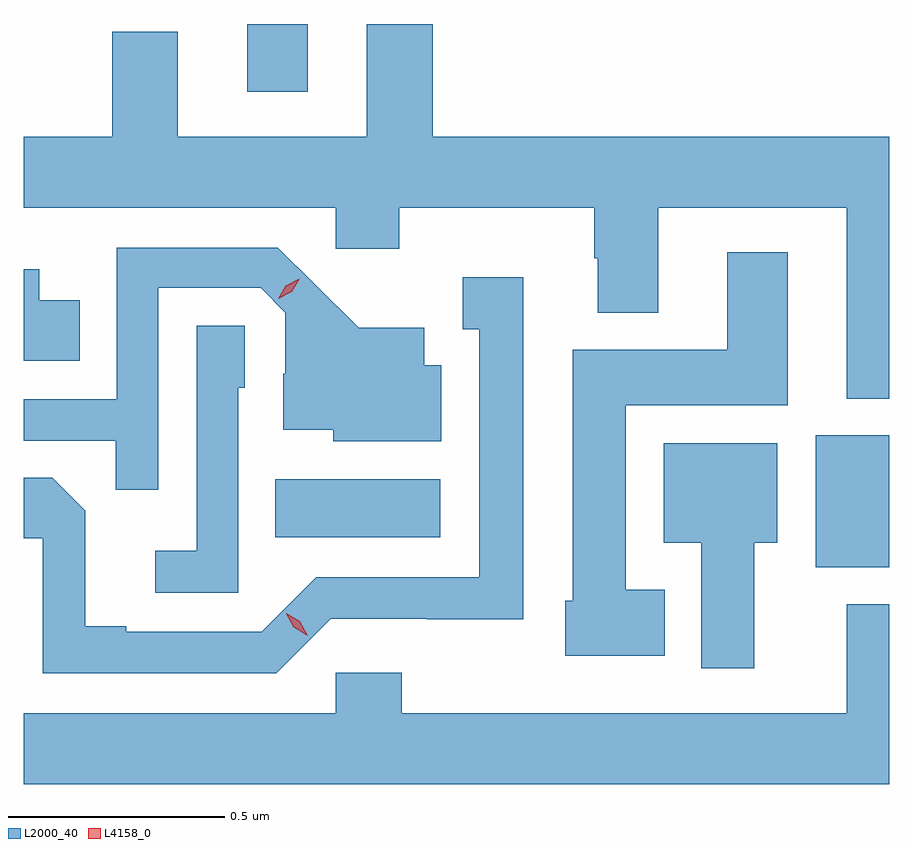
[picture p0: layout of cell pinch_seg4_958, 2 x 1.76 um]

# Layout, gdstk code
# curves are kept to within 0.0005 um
import gdstk
lib = gdstk.Library(unit=1e-6, precision=1e-09)
def R(c, l, rs):  # rectangles x0, y0, x1, y1
    for r in rs: c.add(gdstk.rectangle(r[:2], r[2:], *l))
def P(c, l, *ps):  # polygons
    for p in ps: c.add(gdstk.Polygon(p, *l))
L2000_40 = (2000, 40)
L4158_0 = (4158, 0)

pinch_seg4_958 = lib.new_cell('pinch_seg4_958')
R(pinch_seg4_958, L2000_40, [(656.099,798.653,656.269,798.958), (654.85,798.722,655.231,798.856), (654.785,799.752,654.925,799.909)])
P(pinch_seg4_958, L2000_40, [(656.269,799.648),(655.214,799.648),(655.214,799.909),(655.061,799.909),(655.061,799.648),(654.625,799.648),(654.625,799.891),(654.473,799.891),(654.473,799.648),(654.269,799.648),(654.269,799.484),(654.99,799.484),(654.99,799.389),(655.137,799.389),(655.137,799.484),(655.588,799.484),(655.588,799.368),(655.595,799.368),(655.595,799.241),(655.735,799.241),(655.735,799.484),(656.171,799.484),(656.171,799.043),(656.269,799.043)],
  [(654.579,799.299),(654.816,799.299),(654.873,799.242),(654.873,799.1),(654.869,799.1),(654.869,798.971),(654.984,798.971),(654.984,798.944),(655.234,798.944),(655.234,799.12),(655.195,799.12),(655.195,799.207),(655.043,799.207),(654.856,799.392),(654.483,799.392),(654.483,799.041),(654.269,799.041),(654.269,798.945),(654.481,798.945),(654.481,798.832),(654.579,798.832)],
  [(655.75,798.601),(655.66,798.601),(655.66,799.028),(656.035,799.028),(656.035,799.381),(655.895,799.381),(655.895,799.156),(655.538,799.156),(655.538,798.576),(655.52,798.576),(655.52,798.449),(655.75,798.449)],
  [(654.398,799.27),(654.304,799.27),(654.304,799.342),(654.269,799.342),(654.269,799.13),(654.398,799.13)],
  [(654.978,798.534),(655.2,798.534),(655.2,798.533),(655.423,798.533),(655.423,799.324),(655.283,799.324),(655.283,799.203),(655.322,799.203),(655.322,798.63),(654.945,798.63),(654.819,798.504),(654.505,798.504),(654.505,798.517),(654.411,798.517),(654.411,798.784),(654.335,798.86),(654.269,798.86),(654.269,798.72),(654.312,798.72),(654.312,798.408),(654.852,798.408)],
  [(654.765,799.068),(654.78,799.068),(654.78,799.211),(654.669,799.211),(654.669,798.691),(654.573,798.691),(654.573,798.594),(654.765,798.594)],
  [(655.957,798.71),(656.011,798.71),(656.011,798.94),(655.748,798.94),(655.748,798.71),(655.835,798.71),(655.835,798.42),(655.957,798.42)],
  [(656.269,798.568),(656.171,798.568),(656.171,798.316),(655.142,798.316),(655.142,798.409),(654.99,798.409),(654.99,798.316),(654.269,798.316),(654.269,798.152),(656.269,798.152)])
P(pinch_seg4_958, L4158_0, [(654.925,798.495),(654.893,798.514),(654.875,798.546),(654.875,798.547),(654.875,798.547),(654.907,798.528),(654.925,798.495),(654.925,798.495)],
  [(654.857,799.274),(654.857,799.274),(654.874,799.304),(654.905,799.32),(654.905,799.32),(654.905,799.319),(654.888,799.29),(654.857,799.274)])

lib.write_gds('pinch_seg4_958.gds')
